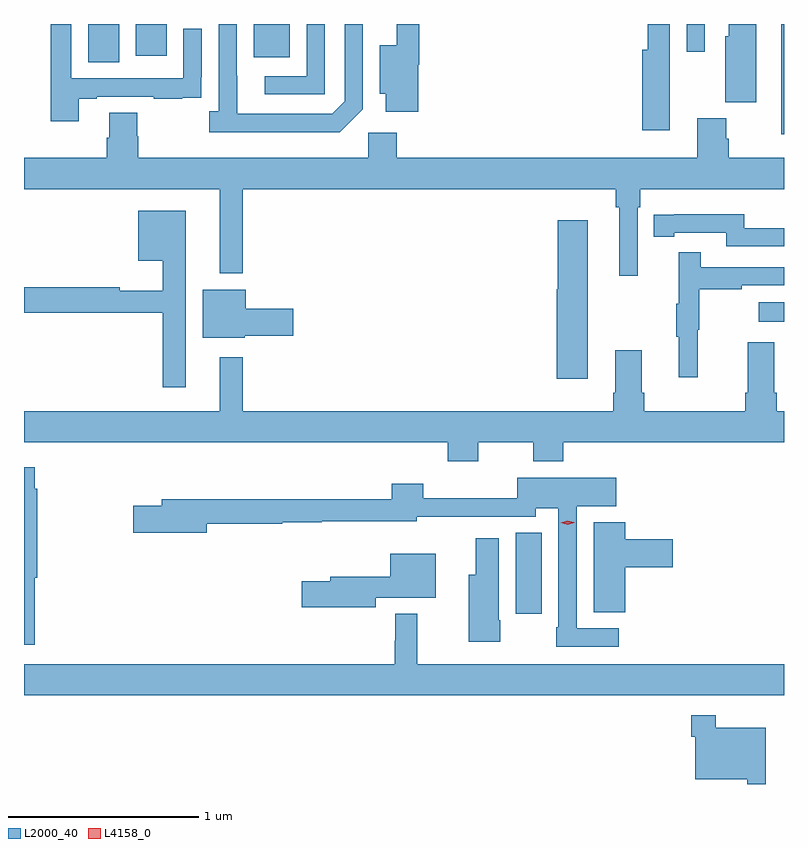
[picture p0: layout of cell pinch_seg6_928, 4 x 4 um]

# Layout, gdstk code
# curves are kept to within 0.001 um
import gdstk
lib = gdstk.Library(unit=1e-6, precision=1e-09)
def R(c, l, rs):  # rectangles x0, y0, x1, y1
    for r in rs: c.add(gdstk.rectangle(r[:2], r[2:], *l))
def P(c, l, *ps):  # polygons
    for p in ps: c.add(gdstk.Polygon(p, *l))
L2000_40 = (2000, 40)
L4158_0 = (4158, 0)

pinch_seg6_928 = lib.new_cell('pinch_seg6_928')
R(pinch_seg6_928, L2000_40, [(290.78,949.098,290.917,949.523), (292.059,950.633,292.193,950.737), (292.178,951.62,292.193,952.201), (288.53,952,288.694,952.201), (289.403,952.025,289.591,952.201), (288.782,952.035,288.943,952.201), (291.681,952.056,291.777,952.201)])
P(pinch_seg6_928, L2000_40, [(288.481,951.807),(288.577,951.807),(288.577,951.819),(288.877,951.819),(288.877,951.807),(289.025,951.807),(289.025,951.813),(289.127,951.813),(289.127,951.922),(289.128,951.922),(289.128,952.177),(289.032,952.177),(289.032,951.915),(288.441,951.915),(288.441,952.201),(288.333,952.201),(288.333,951.69),(288.481,951.69)],
  [(292.048,952.201),(291.902,952.201),(291.902,952.137),(291.884,952.137),(291.884,951.79),(292.048,951.79)],
  [(289.776,952.201),(289.68,952.201),(289.68,951.927),(289.461,951.927),(289.461,951.831),(289.776,951.831)],
  [(291.592,951.962),(291.591,951.962),(291.591,952.201),(291.475,952.201),(291.475,952.066),(291.446,952.066),(291.446,951.642),(291.592,951.642)],
  [(289.977,951.753),(289.977,952.201),(289.881,952.201),(289.881,951.795),(289.815,951.729),(289.315,951.729),(289.314,952.201),(289.218,952.201),(289.218,951.742),(289.167,951.742),(289.167,951.632),(289.856,951.632)],
  [(290.267,951.986),(290.273,951.986),(290.273,952.201),(290.156,952.201),(290.156,952.09),(290.066,952.09),(290.066,951.833),(290.096,951.833),(290.096,951.738),(290.267,951.738)],
  [(291.423,951.236),(291.437,951.236),(291.437,951.332),(292.193,951.332),(292.193,951.496),(291.902,951.496),(291.902,951.596),(291.889,951.596),(291.889,951.705),(291.737,951.705),(291.737,951.496),(290.156,951.496),(290.156,951.628),(290.004,951.628),(290.004,951.496),(288.794,951.496),(288.794,951.609),(288.789,951.609),(288.789,951.734),(288.641,951.734),(288.641,951.602),(288.629,951.602),(288.629,951.496),(288.193,951.496),(288.193,951.332),(289.223,951.332),(289.223,950.888),(289.345,950.888),(289.345,951.332),(291.307,951.332),(291.307,951.236),(291.326,951.236),(291.326,950.877),(291.423,950.877)],
  [(289.045,951.217),(288.794,951.217),(288.794,950.954),(288.924,950.954),(288.924,950.797),(288.698,950.797),(288.698,950.816),(288.193,950.816),(288.193,950.68),(288.924,950.68),(288.924,950.289),(289.045,950.289)],
  [(292.193,951.126),(291.984,951.126),(291.984,951.199),(291.616,951.199),(291.616,951.198),(291.508,951.198),(291.508,951.082),(291.616,951.082),(291.616,951.102),(291.888,951.102),(291.888,951.03),(292.193,951.03)],
  [(291.16,951.169),(291.002,951.169),(291.002,950.805),(290.996,950.805),(290.996,950.334),(291.16,950.334)],
  [(291.74,950.592),(291.748,950.592),(291.748,950.806),(291.971,950.806),(291.971,950.826),(292.193,950.826),(292.193,950.922),(291.755,950.922),(291.755,951.001),(291.638,951.001),(291.638,950.729),(291.627,950.729),(291.627,950.555),(291.638,950.555),(291.638,950.343),(291.74,950.343)],
  [(289.356,950.56),(289.609,950.56),(289.609,950.702),(289.36,950.702),(289.36,950.803),(289.133,950.803),(289.133,950.549),(289.356,950.549)],
  [(290.583,950),(290.872,950),(290.872,949.901),(291.032,949.901),(291.032,950),(292.193,950),(292.193,950.164),(292.154,950.164),(292.154,950.26),(292.141,950.26),(292.141,950.527),(292.001,950.527),(292.001,950.26),(291.989,950.26),(291.989,950.164),(291.458,950.164),(291.458,950.26),(291.445,950.26),(291.445,950.485),(291.305,950.485),(291.305,950.26),(291.293,950.26),(291.293,950.164),(289.345,950.164),(289.345,950.446),(289.223,950.446),(289.223,950.164),(288.193,950.164),(288.193,950),(290.423,950),(290.423,949.901),(290.583,949.901)],
  [(288.25,949.286),(288.263,949.286),(288.263,949.754),(288.25,949.754),(288.25,949.867),(288.193,949.867),(288.193,948.933),(288.25,948.933)],
  [(291.322,949.02),(291.102,949.02),(291.102,949.664),(291.31,949.664),(291.31,949.813),(290.79,949.813),(290.79,949.706),(290.294,949.706),(290.294,949.78),(290.129,949.78),(290.129,949.699),(288.917,949.699),(288.917,949.665),(288.768,949.665),(288.768,949.523),(289.156,949.523),(289.156,949.57),(289.552,949.57),(289.552,949.578),(289.759,949.578),(289.759,949.585),(290.259,949.585),(290.259,949.607),(290.474,949.607),(290.474,949.608),(290.886,949.608),(290.886,949.652),(291.006,949.652),(291.006,949.027),(290.994,949.027),(290.994,948.924),(291.322,948.924)],
  [(291.358,949.343),(291.607,949.343),(291.607,949.49),(291.358,949.49),(291.358,949.579),(291.191,949.579),(291.191,949.105),(291.358,949.105)],
  [(290.7,949.063),(290.692,949.063),(290.692,949.495),(290.57,949.495),(290.57,949.303),(290.534,949.303),(290.534,948.951),(290.7,948.951)],
  [(290.044,949.181),(290.359,949.181),(290.359,949.414),(290.12,949.414),(290.12,949.291),(289.805,949.291),(289.805,949.269),(289.656,949.269),(289.656,949.132),(290.044,949.132)],
  [(292.193,948.832),(290.264,948.832),(290.264,949.096),(290.148,949.096),(290.148,948.956),(290.143,948.956),(290.143,948.832),(288.193,948.832),(288.193,948.668),(292.193,948.668)],
  [(292.096,948.496),(291.835,948.496),(291.835,948.562),(291.706,948.562),(291.706,948.449),(291.726,948.449),(291.726,948.227),(291.999,948.227),(291.999,948.201),(292.096,948.201)])
P(pinch_seg6_928, L4158_0, [(291.054,949.566),(291.019,949.575),(291.018,949.575),(291.019,949.575),(291.053,949.586),(291.088,949.578),(291.088,949.578),(291.088,949.577)])

lib.write_gds('pinch_seg6_928.gds')
